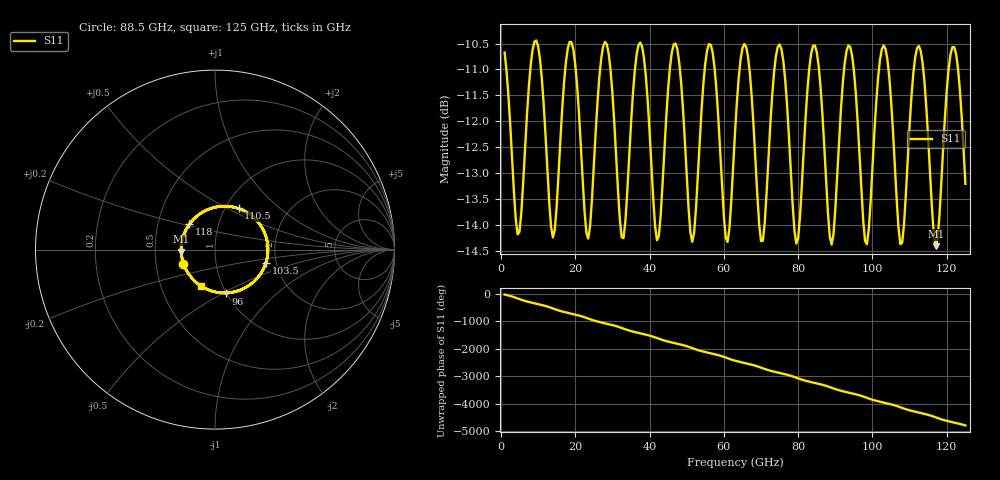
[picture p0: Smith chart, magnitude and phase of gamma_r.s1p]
! Created with skrf 2.1.0 (http://scikit-rf.org).
# GHz S RI R 50.0
!freq ReS11 ImS11
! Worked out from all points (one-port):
!   249 points, 1 GHz to 125 GHz, reference 50 ohm
!   lowest |S11| = -14.4 dB at 117 GHz (marker M1), VSWR 1.47, Z = 34 - j0.858 ohm
!   |S11| at or under -10 dB: start of sweep to end of sweep
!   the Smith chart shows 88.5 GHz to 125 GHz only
!   S11 on the Smith chart (normalised r, x): 88.5 GHz: 0.69, -0.11; 96 GHz: 0.99, -0.52; 103.5 GHz: 1.77, -0.29; 110.5 GHz: 1.15, +0.57; 118 GHz: 0.72, +0.22; 125 GHz: 0.79, -0.34
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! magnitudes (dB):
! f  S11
! 1 GHz  -10.7
! 4.5 GHz  -14.2
! 9 GHz  -10.5
! 14 GHz  -14.2
! 16.5 GHz  -11.8
! 23.5 GHz  -14.3
! 28.5 GHz  -10.5
! 32 GHz  -13.9
! 47.5 GHz  -10.6
! 51.5 GHz  -14.3
! 56 GHz  -10.5
! 60.5 GHz  -14.2
! 63 GHz  -12.2
! 70.5 GHz  -14.3
! 75 GHz  -10.5
! 78.5 GHz  -13.6
! 84.5 GHz  -10.5
! 88.5 GHz  -14.2
! 94 GHz  -10.6
! 96 GHz  -12.0
! 98.5 GHz  -14.4
! 103.5 GHz  -10.6
! 109.5 GHz  -12.7
! 110.5 GHz  -11.5
! 117 GHz  -14.4
! 118 GHz  -13.8
! 121.5 GHz  -10.6
! 125 GHz  -13.2
